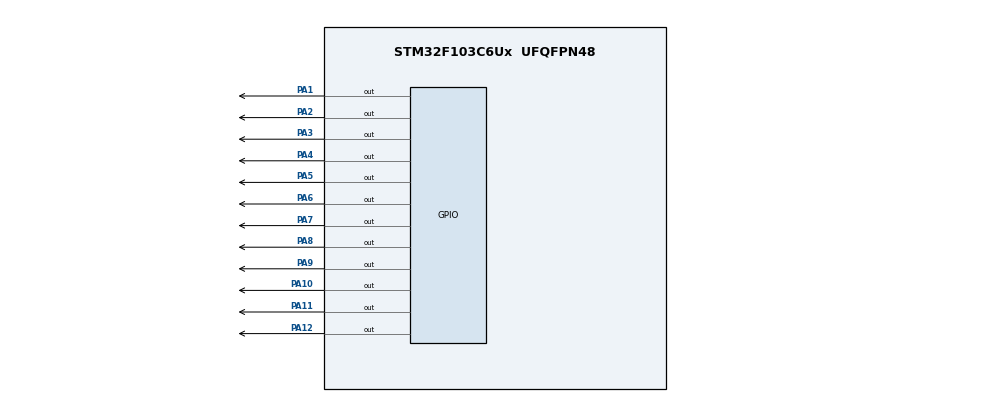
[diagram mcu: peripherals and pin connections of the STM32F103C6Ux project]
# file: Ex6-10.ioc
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Mcu.Family=STM32F1
Mcu.Name=STM32F103C6Ux
Mcu.Package=UFQFPN48
NVIC.PriorityGroup=NVIC_PRIORITYGROUP_4
PA1.Signal=GPIO_Output
PA10.Signal=GPIO_Output
PA11.Signal=GPIO_Output
PA12.Signal=GPIO_Output
PA2.Signal=GPIO_Output
PA3.Signal=GPIO_Output
PA4.Signal=GPIO_Output
PA5.Signal=GPIO_Output
PA6.Signal=GPIO_Output
PA7.Signal=GPIO_Output
PA8.Signal=GPIO_Output
PA9.Signal=GPIO_Output
ProjectManager.HeapSize=0x200
ProjectManager.StackSize=0x400
ProjectManager.TargetToolchain=STM32CubeIDE
RCC.APB1Freq_Value=8000000
RCC.APB2Freq_Value=8000000
VP_SYS_VS_ND.Mode=No_Debug
board=custom

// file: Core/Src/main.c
/* USER CODE BEGIN Header */
/**
  ******************************************************************************
  * @file           : main.c
  * @brief          : Main program body
  ******************************************************************************
  * @attention
  *
  * <h2><center>&copy; Copyright (c) 2022 STMicroelectronics.
  * All rights reserved.</center></h2>
  *
  * This software component is licensed by ST under BSD 3-Clause license,
  * the "License"; You may not use this file except in compliance with the
  * License. You may obtain a copy of the License at:
  *                        opensource.org/licenses/BSD-3-Clause
  *
  ******************************************************************************
  */
/* USER CODE END Header */
#include "main.h"

void SystemClock_Config(void);
static void MX_GPIO_Init(void);

/* USER CODE BEGIN 0 */
#define GPIO_Pin(x) ((uint16_t) 1 << (x))

void clearAllClock(){
	 GPIOA->ODR = 0xFFFF;
}
void setNumberOnClock(int num){
	 if (num < 0 || num > 11) return;
	 if (num == 0) num = 12;
	 HAL_GPIO_WritePin ( GPIOA , GPIO_Pin(num) , 0) ;
}
void clearNumberOnClock(int num){
	 if (num < 0 || num > 11) return;
	 if (num == 0) num = 12;
	 HAL_GPIO_WritePin ( GPIOA , GPIO_Pin(num) , 1) ;
}
/* USER CODE END 0 */

int main(void)
{

  /* MCU Configuration--------------------------------------------------------*/

  /* Reset of all peripherals, Initializes the Flash interface and the Systick. */
  HAL_Init();

  /* Configure the system clock */
  SystemClock_Config();

  /* Initialize all configured peripherals */
  MX_GPIO_Init();

  /* Infinite loop */
  /* USER CODE BEGIN WHILE */
  int counter = 5;	//Count for 5 seconds

  int hour = 8;		//Init hour

  int min = 3;		//Init number of minute led
  int fiveMin = 5;	//Count for 5 minutes

  int sec = 0;		//Init number of second led
  clearAllClock();

  while (1)
  {
	  if (counter <= 0) {	//After 5 secs, second led will change
	  		clearNumberOnClock(sec);
	  		sec++;
	  		counter = 0;
	  }

	  if (sec >= 12) {
			sec = 0;
			fiveMin--;
	  }

	  if (fiveMin <= 0) {	//After 5 secs, minute led will change
			clearNumberOnClock(min);
			min++;
			fiveMin = 5;
	  }

	  if (min >= 12){	//After 1 hour, hour led will change
			clearNumberOnClock(hour);
			min = 0;
			hour++;
	  }

	  if (hour >= 12) hour = 0;

	  setNumberOnClock(sec);
	  setNumberOnClock(min);
	  setNumberOnClock(hour);

	  counter--;
	  HAL_Delay(50);
    /* USER CODE END WHILE */

  }
}

void SystemClock_Config(void)
{
  RCC_OscInitTypeDef RCC_OscInitStruct = {0};
  RCC_ClkInitTypeDef RCC_ClkInitStruct = {0};

  /** Initializes the RCC Oscillators according to the specified parameters
  * in the RCC_OscInitTypeDef structure.
  */
  RCC_OscInitStruct.OscillatorType = RCC_OSCILLATORTYPE_HSI;
  RCC_OscInitStruct.HSIState = RCC_HSI_ON;
  RCC_OscInitStruct.HSICalibrationValue = RCC_HSICALIBRATION_DEFAULT;
  RCC_OscInitStruct.PLL.PLLState = RCC_PLL_NONE;
  if (HAL_RCC_OscConfig(&RCC_OscInitStruct) != HAL_OK)
  {
    Error_Handler();
  }
  /** Initializes the CPU, AHB and APB buses clocks
  */
  RCC_ClkInitStruct.ClockType = RCC_CLOCKTYPE_HCLK|RCC_CLOCKTYPE_SYSCLK
                              |RCC_CLOCKTYPE_PCLK1|RCC_CLOCKTYPE_PCLK2;
  RCC_ClkInitStruct.SYSCLKSource = RCC_SYSCLKSOURCE_HSI;
  RCC_ClkInitStruct.AHBCLKDivider = RCC_SYSCLK_DIV1;
  RCC_ClkInitStruct.APB1CLKDivider = RCC_HCLK_DIV1;
  RCC_ClkInitStruct.APB2CLKDivider = RCC_HCLK_DIV1;

  if (HAL_RCC_ClockConfig(&RCC_ClkInitStruct, FLASH_LATENCY_0) != HAL_OK)
  {
    Error_Handler();
  }
}

static void MX_GPIO_Init(void)
{
  GPIO_InitTypeDef GPIO_InitStruct = {0};

  /* GPIO Ports Clock Enable */
  __HAL_RCC_GPIOA_CLK_ENABLE();

  /*Configure GPIO pin Output Level */
  HAL_GPIO_WritePin(GPIOA, GPIO_PIN_1|GPIO_PIN_2|GPIO_PIN_3|GPIO_PIN_4
                          |GPIO_PIN_5|GPIO_PIN_6|GPIO_PIN_7|GPIO_PIN_8
                          |GPIO_PIN_9|GPIO_PIN_10|GPIO_PIN_11|GPIO_PIN_12, GPIO_PIN_RESET);

  /*Configure GPIO pins : PA1 PA2 PA3 PA4
                           PA5 PA6 PA7 PA8
                           PA9 PA10 PA11 PA12 */
  GPIO_InitStruct.Pin = GPIO_PIN_1|GPIO_PIN_2|GPIO_PIN_3|GPIO_PIN_4
                          |GPIO_PIN_5|GPIO_PIN_6|GPIO_PIN_7|GPIO_PIN_8
                          |GPIO_PIN_9|GPIO_PIN_10|GPIO_PIN_11|GPIO_PIN_12;
  GPIO_InitStruct.Mode = GPIO_MODE_OUTPUT_PP;
  GPIO_InitStruct.Pull = GPIO_NOPULL;
  GPIO_InitStruct.Speed = GPIO_SPEED_FREQ_LOW;
  HAL_GPIO_Init(GPIOA, &GPIO_InitStruct);

}

void Error_Handler(void)
{
  __disable_irq();
  while (1)
  {
  }
}

/************************ (C) COPYRIGHT STMicroelectronics *****END OF FILE****/
